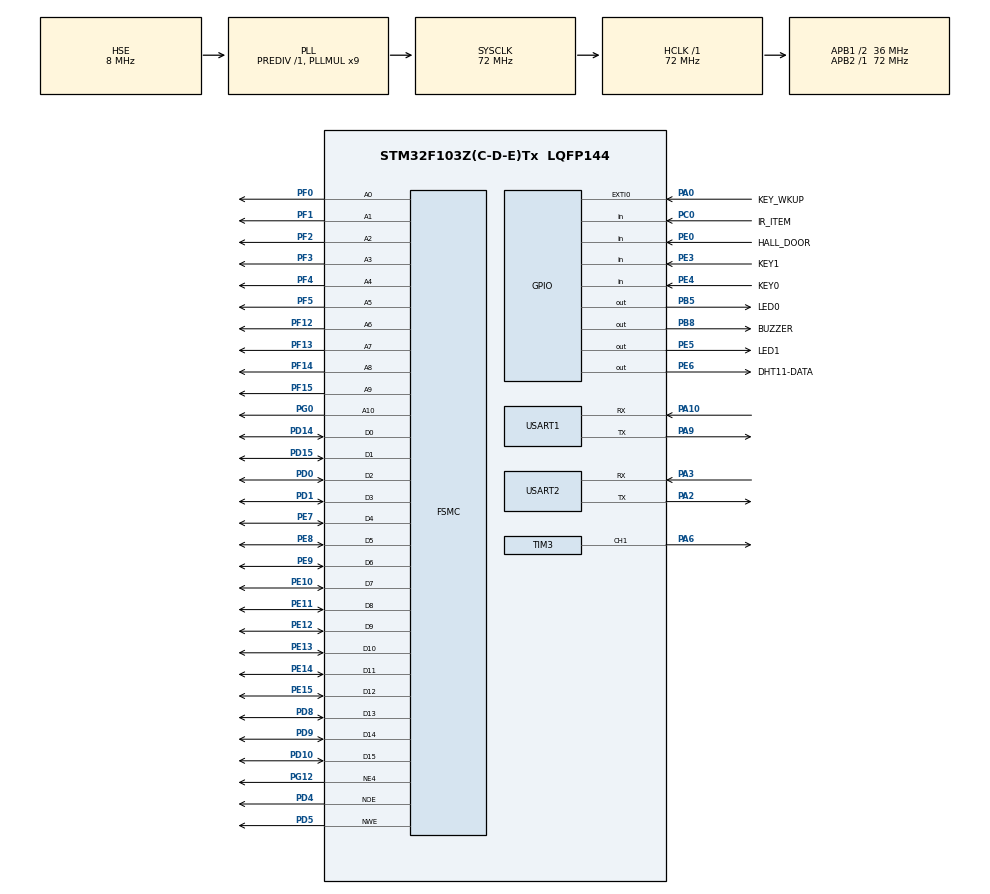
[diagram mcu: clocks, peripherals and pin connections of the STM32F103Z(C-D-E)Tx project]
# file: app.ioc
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FREERTOS.Tasks01=defaultTask,24,128,StartDefaultTask,Default,NULL,Dynamic,NULL,NULL
FREERTOS.configCHECK_FOR_STACK_OVERFLOW=2
FREERTOS.configTOTAL_HEAP_SIZE=24576
FREERTOS.configUSE_IDLE_HOOK=1
FREERTOS.configUSE_MALLOC_FAILED_HOOK=1
FSMC.AddressSetupTime4=5
FSMC.BusTurnAroundDuration4=0
FSMC.DataSetupTime4=7
FSMC.ExtendedAddressSetupTime4=2
FSMC.ExtendedBusTurnAroundDuration4=0
FSMC.ExtendedDataSetupTime4=5
FSMC.ExtendedMode4=FSMC_EXTENDED_MODE_ENABLE
FSMC.WriteOperation4=FSMC_WRITE_OPERATION_ENABLE
Mcu.Family=STM32F1
Mcu.Name=STM32F103Z(C-D-E)Tx
Mcu.Package=LQFP144
NVIC.EXTI0_IRQn=true\:5\:0\:false\:false\:true\:true\:true\:true\:true
NVIC.PriorityGroup=NVIC_PRIORITYGROUP_4
NVIC.TIM4_IRQn=true\:15\:0\:false\:false\:true\:false\:false\:true\:true
NVIC.TimeBase=TIM4_IRQn
NVIC.TimeBaseIP=TIM4
NVIC.USART2_IRQn=true\:5\:0\:true\:false\:true\:true\:true\:true\:true
OSC_IN.Mode=HSE-External-Oscillator
OSC_IN.Signal=RCC_OSC_IN
OSC_OUT.Mode=HSE-External-Oscillator
OSC_OUT.Signal=RCC_OSC_OUT
PA0-WKUP.GPIO_Label=KEY_WKUP
PA0-WKUP.GPIO_ModeDefaultEXTI=GPIO_MODE_IT_FALLING
PA0-WKUP.GPIO_PuPd=GPIO_PULLDOWN
PA0-WKUP.Signal=GPXTI0
PA10.GPIO_PuPd=GPIO_PULLUP
PA10.Mode=Asynchronous
PA10.Signal=USART1_RX
PA13.Mode=Serial_Wire
PA13.Signal=SYS_JTMS-SWDIO
PA14.Mode=Serial_Wire
PA14.Signal=SYS_JTCK-SWCLK
PA2.Mode=Asynchronous
PA2.Signal=USART2_TX
PA3.Mode=Asynchronous
PA3.Signal=USART2_RX
PA6.Signal=S_TIM3_CH1
PA9.GPIO_Speed=GPIO_SPEED_FREQ_HIGH
PA9.Mode=Asynchronous
PA9.Signal=USART1_TX
PB5.GPIO_Label=LED0
PB5.GPIO_PuPd=GPIO_PULLUP
PB5.GPIO_Speed=GPIO_SPEED_FREQ_HIGH
PB5.PinState=GPIO_PIN_SET
PB5.Signal=GPIO_Output
PB8.GPIO_Label=BUZZER
PB8.GPIO_PuPd=GPIO_PULLUP
PB8.GPIO_Speed=GPIO_SPEED_FREQ_HIGH
PB8.Signal=GPIO_Output
PC0.GPIO_Label=IR_ITEM
PC0.GPIO_PuPd=GPIO_PULLUP
PC0.Signal=GPIO_Input
PD0.Signal=FSMC_D2_DA2
PD1.Signal=FSMC_D3_DA3
PD10.Signal=FSMC_D15_DA15
PD14.Signal=FSMC_D0_DA0
PD15.Signal=FSMC_D1_DA1
PD4.Signal=FSMC_NOE
PD5.Signal=FSMC_NWE
PD8.Signal=FSMC_D13_DA13
PD9.Signal=FSMC_D14_DA14
PE0.GPIO_Label=HALL_DOOR
PE0.GPIO_PuPd=GPIO_PULLUP
PE0.Signal=GPIO_Input
PE10.Signal=FSMC_D7_DA7
PE11.Signal=FSMC_D8_DA8
PE12.Signal=FSMC_D9_DA9
PE13.Signal=FSMC_D10_DA10
PE14.Signal=FSMC_D11_DA11
PE15.Signal=FSMC_D12_DA12
PE3.GPIO_Label=KEY1
PE3.GPIO_PuPd=GPIO_PULLUP
PE3.Signal=GPIO_Input
PE4.GPIO_Label=KEY0
PE4.GPIO_PuPd=GPIO_PULLUP
PE4.Signal=GPIO_Input
PE5.GPIO_Label=LED1
PE5.GPIO_PuPd=GPIO_PULLUP
PE5.GPIO_Speed=GPIO_SPEED_FREQ_HIGH
PE5.PinState=GPIO_PIN_SET
PE5.Signal=GPIO_Output
PE6.GPIO_Label=DHT11-DATA
PE6.GPIO_ModeDefaultOutputPP=GPIO_MODE_OUTPUT_OD
PE6.GPIO_PuPd=GPIO_PULLUP
PE6.Signal=GPIO_Output
PE7.Signal=FSMC_D4_DA4
PE8.Signal=FSMC_D5_DA5
PE9.Signal=FSMC_D6_DA6
PF0.Signal=FSMC_A0
PF1.Signal=FSMC_A1
PF12.Signal=FSMC_A6
PF13.Signal=FSMC_A7
PF14.Signal=FSMC_A8
PF15.Signal=FSMC_A9
PF2.Signal=FSMC_A2
PF3.Signal=FSMC_A3
PF4.Signal=FSMC_A4
PF5.GPIO_Speed_High_Default=GPIO_SPEED_FREQ_HIGH
PF5.Signal=FSMC_A5
PG0.Signal=FSMC_A10
PG12.Mode=NorPsramChipSelect4_4
PG12.Signal=FSMC_NE4
ProjectManager.HeapSize=0x200
ProjectManager.StackSize=0x400
ProjectManager.TargetToolchain=MDK-ARM V5.32
RCC.AHBFreq_Value=72000000
RCC.APB1CLKDivider=RCC_HCLK_DIV2
RCC.APB1Freq_Value=36000000
RCC.APB1TimFreq_Value=72000000
RCC.APB2Freq_Value=72000000
RCC.APB2TimFreq_Value=72000000
RCC.HCLKFreq_Value=72000000
RCC.PLLMUL=RCC_PLL_MUL9
RCC.PLLSourceVirtual=RCC_PLLSOURCE_HSE
RCC.SYSCLKFreq_VALUE=72000000
RCC.SYSCLKSource=RCC_SYSCLKSOURCE_PLLCLK
RCC.USBFreq_Value=72000000
SH.FSMC_A0.0=FSMC_A0,11b-a4
SH.FSMC_A1.0=FSMC_A1,11b-a4
SH.FSMC_A10.0=FSMC_A10,11b-a4
SH.FSMC_A2.0=FSMC_A2,11b-a4
SH.FSMC_A3.0=FSMC_A3,11b-a4
SH.FSMC_A4.0=FSMC_A4,11b-a4
SH.FSMC_A5.0=FSMC_A5,11b-a4
SH.FSMC_A6.0=FSMC_A6,11b-a4
SH.FSMC_A7.0=FSMC_A7,11b-a4
SH.FSMC_A8.0=FSMC_A8,11b-a4
SH.FSMC_A9.0=FSMC_A9,11b-a4
SH.FSMC_D0_DA0.0=FSMC_D0,16b-d4
SH.FSMC_D10_DA10.0=FSMC_D10,16b-d4
SH.FSMC_D11_DA11.0=FSMC_D11,16b-d4
SH.FSMC_D12_DA12.0=FSMC_D12,16b-d4
SH.FSMC_D13_DA13.0=FSMC_D13,16b-d4
SH.FSMC_D14_DA14.0=FSMC_D14,16b-d4
SH.FSMC_D15_DA15.0=FSMC_D15,16b-d4
SH.FSMC_D1_DA1.0=FSMC_D1,16b-d4
SH.FSMC_D2_DA2.0=FSMC_D2,16b-d4
SH.FSMC_D3_DA3.0=FSMC_D3,16b-d4
SH.FSMC_D4_DA4.0=FSMC_D4,16b-d4
SH.FSMC_D5_DA5.0=FSMC_D5,16b-d4
SH.FSMC_D6_DA6.0=FSMC_D6,16b-d4
SH.FSMC_D7_DA7.0=FSMC_D7,16b-d4
SH.FSMC_D8_DA8.0=FSMC_D8,16b-d4
SH.FSMC_D9_DA9.0=FSMC_D9,16b-d4
SH.FSMC_NOE.0=FSMC_NOE,Sram4
SH.FSMC_NWE.0=FSMC_NWE,Sram4
SH.S_TIM3_CH1.0=TIM3_CH1,PWM Generation1 CH1
TIM3.AutoReloadPreload=TIM_AUTORELOAD_PRELOAD_ENABLE
TIM3.Channel-PWM\ Generation1\ CH1=TIM_CHANNEL_1
TIM3.Period=20000-1
TIM3.Prescaler=72-1
TIM3.Pulse-PWM\ Generation1\ CH1=1500
USART1.VirtualMode=VM_ASYNC
USART2.VirtualMode=VM_ASYNC
VP_FREERTOS_VS_CMSIS_V2.Mode=CMSIS_V2
VP_SYS_VS_tim4.Mode=TIM4
VP_TIM3_VS_ClockSourceINT.Mode=Internal
board=custom

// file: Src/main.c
/* USER CODE BEGIN Header */
/**
  ******************************************************************************
  * @file           : main.c
  * @brief          : Main program body
  ******************************************************************************
  * @attention
  *
  * Copyright (c) 2026 STMicroelectronics.
  * All rights reserved.
  *
  * This software is licensed under terms that can be found in the LICENSE file
  * in the root directory of this software component.
  * If no LICENSE file comes with this software, it is provided AS-IS.
  *
  ******************************************************************************
  */
/* USER CODE END Header */
#include "main.h"
#include "cmsis_os.h"
#include "tim.h"
#include "usart.h"
#include "gpio.h"
#include "fsmc.h"

/* USER CODE BEGIN Includes */
/* USER CODE BEGIN Includes */
#include <stdio.h>
#include <string.h>
#include "app_ipc.h"        /* 4 大 IPC 句柄：g_uart_mutex_handle / g_irq_sem_handle */
#include "app_task.h"       /* 任务函数声明 */
#include "app_uart.h"
#include "flash_param.h"
#include "ota_manager.h"
#include "app_lcd.h"
#include "app_touch.h"
#include "app_servo.h"
#include "app_sensor.h"
#include "app_ipc.h"
#include "app_buzzer.h"
#include "code_check.h"
#include "lcd_ui.h"

/* ===================== fputc 重定向（D3 第二版互斥锁，原样保留） ===================== */
#ifdef __GNUC__
  #define PUTCHAR_PROTOTYPE int __io_putchar(int ch)
#else
  #define PUTCHAR_PROTOTYPE int fputc(int ch, FILE *f)
#endif
PUTCHAR_PROTOTYPE
{
    HAL_UART_Transmit(&huart1, (uint8_t *)&ch, 1, 0xFFFF);
    return ch;
}

/* ===================== _write 系统调用（MicroLib printf/fputs 批量输出重定向） =====================
 * D17 关键修复：MicroLib 下带格式参数的 printf（如 lcd.c 中 printf("LCD ID:%x", id)）
 * 会调用 _write 系统调用而非 fputc。若不实现 _write，MicroLib 默认 stub 会导致程序卡死。
 * 此实现将 _write 重定向到 huart1，与 fputc/uart_printf_mutex 输出一致。
 * 注意：多任务环境下应优先使用 uart_printf_mutex（带互斥锁），避免 printf 竞争。
 * ============================================================================================ */
int _write(int fd, const char *ptr, int len)
{
    (void)fd;
    if ((ptr != NULL) && (len > 0) && (huart1.Instance != NULL)) {
        (void)HAL_UART_Transmit(&huart1, (uint8_t *)ptr, (uint16_t)len, 100U);  /* 100ms 超时防 TX 故障死锁 */
    }
    return len;
}
/* USER CODE END Includes */

void SystemClock_Config(void);
void MX_FREERTOS_Init(void);

int main(void)
{

  /* USER CODE BEGIN 1 */
	__enable_irq();   /* Bootloader 跳转前 __disable_irq()，APP 必须重新开启全局中断 */
  /* USER CODE END 1 */

  /* MCU Configuration--------------------------------------------------------*/

  /* Reset of all peripherals, Initializes the Flash interface and the Systick. */
  HAL_Init();

  /* Configure the system clock */
  SystemClock_Config();

  /* Initialize all configured peripherals */
  MX_GPIO_Init();
  MX_USART1_UART_Init();
  MX_USART2_UART_Init();
  MX_FSMC_Init();
  MX_TIM3_Init();
  /* USER CODE BEGIN 2 */

	App_Lcd_Init();   /* LCD 初始化（FSMC 已由 MX_FSMC_Init 初始化，此处初始化 LCD 控制器 + 背光）*/
	App_Touch_Init();
	App_Servo_Init();    /* 舵机 PWM 启动，默认关锁 */
	App_Sensor_Init();   /* 霍尔/红外传感器初始化 */
	App_Buzzer_Init();   /* 蜂鸣器初始化（关闭状态） */

	#if APP_BUZZER_ENABLED
		App_Buzzer_Beep_Blocking(200);  /* 上电自检：响 200ms（静音模式跳过，避免无意义 200ms 延迟）*/
	#endif
  uart_printf_mutex("\r\n############ APP v%u.%u.%u.%u (built %s %s) ############\r\n",
                    FW_VER_MAJOR, FW_VER_MINOR, FW_VER_PATCH, FW_BUILD_NUM,
                    __DATE__, __TIME__);
	uart_printf_mutex("\r\n===== IOT OTA APP =====\r\n");
	uart_printf_mutex("System Clock: %u Hz\r\n", SystemCoreClock);
	uart_printf_mutex("Build: %s %s\r\n", __DATE__, __TIME__);

	/* Flash maintenance belongs to boot, not to a small periodic task stack. */
	(void)FlashParam_InitOnBoot();

	 CodeCheck_Init();    /* 取件码模块初始化，从 Flash 读正确码 */
	 LcdUI_Init();   		  /* D9：LCD UI 初始化，画第一帧 */

  /* USER CODE END 2 */

  /* Init scheduler */
  osKernelInitialize();  /* Call init function for freertos objects (in cmsis_os2.c) */
  MX_FREERTOS_Init();

  /* Start scheduler */
  osKernelStart();

  /* We should never get here as control is now taken by the scheduler */

  /* Infinite loop */
  while (1)
  {

  }
}

void SystemClock_Config(void)
{
  RCC_OscInitTypeDef RCC_OscInitStruct = {0};
  RCC_ClkInitTypeDef RCC_ClkInitStruct = {0};

  /** Initializes the RCC Oscillators according to the specified parameters
  * in the RCC_OscInitTypeDef structure.
  */
  RCC_OscInitStruct.OscillatorType = RCC_OSCILLATORTYPE_HSE;
  RCC_OscInitStruct.HSEState = RCC_HSE_ON;
  RCC_OscInitStruct.HSEPredivValue = RCC_HSE_PREDIV_DIV1;
  RCC_OscInitStruct.HSIState = RCC_HSI_ON;
  RCC_OscInitStruct.PLL.PLLState = RCC_PLL_ON;
  RCC_OscInitStruct.PLL.PLLSource = RCC_PLLSOURCE_HSE;
  RCC_OscInitStruct.PLL.PLLMUL = RCC_PLL_MUL9;
  if (HAL_RCC_OscConfig(&RCC_OscInitStruct) != HAL_OK)
  {
    Error_Handler();
  }

  /** Initializes the CPU, AHB and APB buses clocks
  */
  RCC_ClkInitStruct.ClockType = RCC_CLOCKTYPE_HCLK|RCC_CLOCKTYPE_SYSCLK
                              |RCC_CLOCKTYPE_PCLK1|RCC_CLOCKTYPE_PCLK2;
  RCC_ClkInitStruct.SYSCLKSource = RCC_SYSCLKSOURCE_PLLCLK;
  RCC_ClkInitStruct.AHBCLKDivider = RCC_SYSCLK_DIV1;
  RCC_ClkInitStruct.APB1CLKDivider = RCC_HCLK_DIV2;
  RCC_ClkInitStruct.APB2CLKDivider = RCC_HCLK_DIV1;

  if (HAL_RCC_ClockConfig(&RCC_ClkInitStruct, FLASH_LATENCY_2) != HAL_OK)
  {
    Error_Handler();
  }
}

/* USER CODE BEGIN 4 */
void HAL_GPIO_EXTI_Callback(uint16_t GPIO_Pin)
{
    /* 只处理 WK_UP(PA0) 按键触发的 EXTI0 中断 */
    if (GPIO_Pin == KEY_WKUP_Pin)
    {
        /* =====================【CMSIS_V2 标准写法，1 行搞定】=====================
         * osSemaphoreRelease(信号量句柄)
         * 功能：在中断里 Give 1 次二值信号量 → 唤醒 TaskSemHandle。
         * 好处：
         *   ① 不用 xHigherPriorityTaskWoken 变量
         *   ② 不用 portYIELD_FROM_ISR
         *   ③ 任务/ISR 通用，内部自动判断上下文
         *   ④ CubeMX CMSIS_V2 模式下符号永远导出，不再报 Undefined symbol
         * ========================================================================= */
        if (g_irq_sem_handle != NULL) {
            osSemaphoreRelease(g_irq_sem_handle);
        }
    }
}

/* USER CODE END 4 */

void HAL_TIM_PeriodElapsedCallback(TIM_HandleTypeDef *htim)
{
  if (htim->Instance == TIM4)
  {
    HAL_IncTick();
  }
}

void Error_Handler(void)
{
  __disable_irq();
  while (1)
  {
  }
}
#ifdef USE_FULL_ASSERT
/**
  * @brief  Reports the name of the source file and the source line number
  *         where the assert_param error has occurred.
  * @param  file: pointer to the source file name
  * @param  line: assert_param error line source number
  * @retval None
  */
void assert_failed(uint8_t *file, uint32_t line)
{
  /* USER CODE BEGIN 6 */
  /* User can add his own implementation to report the file name and line number,
     ex: uart_printf_mutex("Wrong parameters value: file %s on line %d\r\n", file, line) */
  /* USER CODE END 6 */
}
#endif /* USE_FULL_ASSERT */

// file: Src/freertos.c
/* USER CODE BEGIN Header */
/**
  ******************************************************************************
  * File Name          : freertos.c
  * Description        : Code for freertos applications
  ******************************************************************************
  * @attention
  *
  * Copyright (c) 2026 STMicroelectronics.
  * All rights reserved.
  *
  * This software is licensed under terms that can be found in the LICENSE file
  * in the root directory of this software component.
  * If no LICENSE file comes with this software, it is provided AS-IS.
  *
  ******************************************************************************
  */
/* USER CODE END Header */

#include "FreeRTOS.h"
#include "task.h"
#include "main.h"
#include "cmsis_os.h"

/* USER CODE BEGIN Includes */
#include "app_ipc.h"
#include "app_task.h"
#include <stdio.h>
#include "app_dht11.h"
#include "app_esp8266.h"
#include "app_uart.h"
#include "app_lcd.h"
#include "app_touch.h"
#include "app_servo.h"
#include "app_sensor.h"
#include "app_locker_test.h"
#include "lcd_ui.h"
/* USER CODE END Includes */

/* Definitions for defaultTask */
osThreadId_t defaultTaskHandle;
const osThreadAttr_t defaultTask_attributes = {
  .name = "defaultTask",
  .stack_size = 128 * 4,
  .priority = (osPriority_t) osPriorityNormal,
};

void StartDefaultTask(void *argument);

void MX_FREERTOS_Init(void); /* (MISRA C 2004 rule 8.1) */

/* Hook prototypes */
void vApplicationIdleHook(void);
void vApplicationStackOverflowHook(xTaskHandle xTask, signed char *pcTaskName);
void vApplicationMallocFailedHook(void);

/* USER CODE BEGIN 2 */
#if 0
void vApplicationIdleHook( void )
{
   /* vApplicationIdleHook() will only be called if configUSE_IDLE_HOOK is set
   to 1 in FreeRTOSConfig.h. It will be called on each iteration of the idle
   task. It is essential that code added to this hook function never attempts
   to block in any way (for example, call xQueueReceive() with a block time
   specified, or call vTaskDelay()). If the application makes use of the
   vTaskDelete() API function (as this demo application does) then it is also
   important that vApplicationIdleHook() is permitted to return to its calling
   function, because it is the responsibility of the idle task to clean up
   memory allocated by the kernel to any task that has since been deleted. */
}
#endif
/* USER CODE END 2 */

/* USER CODE BEGIN 4 */
#if 0
void vApplicationStackOverflowHook(xTaskHandle xTask, signed char *pcTaskName)
{
   /* Run time stack overflow checking is performed if
   configCHECK_FOR_STACK_OVERFLOW is defined to 1 or 2. This hook function is
   called if a stack overflow is detected. */
}
#endif
/* USER CODE END 4 */

/* USER CODE BEGIN 5 */
#if 0
void vApplicationMallocFailedHook(void)
{
   /* vApplicationMallocFailedHook() will only be called if
   configUSE_MALLOC_FAILED_HOOK is set to 1 in FreeRTOSConfig.h. It is a hook
   function that will get called if a call to pvPortMalloc() fails.
   pvPortMalloc() is called internally by the kernel whenever a task, queue,
   timer or semaphore is created. It is also called by various parts of the
   demo application. If heap_1.c or heap_2.c are used, then the size of the
   heap available to pvPortMalloc() is defined by configTOTAL_HEAP_SIZE in
   FreeRTOSConfig.h, and the xPortGetFreeHeapSize() API function can be used
   to query the size of free heap space that remains (although it does not
   provide information on how the remaining heap might be fragmented). */
}
#endif
/* USER CODE END 5 */

void MX_FREERTOS_Init(void) {

  /* USER CODE BEGIN RTOS_QUEUES */
  /* 初始化 4 大 IPC（必须在创建任务之前！） */
			App_IPC_Init();
  /* USER CODE END RTOS_QUEUES */

  /* Create the thread(s) */
  /* creation of defaultTask */
  defaultTaskHandle = osThreadNew(StartDefaultTask, NULL, &defaultTask_attributes);

  /* USER CODE BEGIN RTOS_THREADS */
  /* -------------------- TaskLED -------------------- */
    const osThreadAttr_t taskLED_attr = {
        .name       = "TaskLED",
        .attr_bits  = osThreadDetached,
        .cb_mem     = NULL,
        .cb_size    = 0,
        .stack_mem  = NULL,
        .stack_size = TASK_LED_STACK_SIZE_BYTES,
        .priority   = TASK_LED_PRIORITY,    /* osPriorityNormal = 24 */
        .tz_module  = 0,
        .reserved   = 0
    };
    osThreadId_t taskLED_handle = osThreadNew(TaskLED, NULL, &taskLED_attr);
    if (taskLED_handle == NULL) {
        uart_printf_mutex("[ERROR] osThreadNew(TaskLED) failed!\r\n");
    } else {
        App_StackMonitorRegister(taskLED_handle, "TaskLED",
                                 taskLED_attr.stack_size);
    }

    /* -------------------- TaskPrint -------------------- */
    const osThreadAttr_t taskPrint_attr = {
        .name       = "TaskPrint",
        .attr_bits  = osThreadDetached,
        .cb_mem     = NULL,
        .cb_size    = 0,
        .stack_mem  = NULL,
        .stack_size = TASK_PRINT_STACK_SIZE_BYTES,
        .priority   = TASK_PRINT_PRIORITY,   /* osPriorityBelowNormal = 16 */
        .tz_module  = 0,
        .reserved   = 0
    };
    osThreadId_t taskPrint_handle = osThreadNew(TaskPrint, NULL, &taskPrint_attr);
    if (taskPrint_handle == NULL) {
        uart_printf_mutex("[ERROR] osThreadNew(TaskPrint) failed!\r\n");
    } else {
        App_StackMonitorRegister(taskPrint_handle, "TaskPrint",
                                 taskPrint_attr.stack_size);
    }

		    /* ===== TaskKeyPoll ===== */
    const osThreadAttr_t taskKeyPoll_attr = {
        .name       = "TaskKeyPoll",
        .attr_bits  = osThreadDetached,
        .stack_size = TASK_KEY_POLL_STACK_SIZE_BYTES,
        .priority   = TASK_KEY_POLL_PRIORITY,
    };
    osThreadId_t taskKeyPoll_handle = osThreadNew(TaskKeyPoll, NULL, &taskKeyPoll_attr);
    if (taskKeyPoll_handle == NULL) { uart_printf_mutex("[ERROR] osThreadNew(TaskKeyPoll) failed!\r\n"); }
    else { App_StackMonitorRegister(taskKeyPoll_handle, "TaskKeyPoll", taskKeyPoll_attr.stack_size); }

    /* ===== TaskSemHandle ===== */
    const osThreadAttr_t taskSemHandle_attr = {
        .name       = "TaskSemHandle",
        .attr_bits  = osThreadDetached,
        .stack_size = TASK_SEM_HANDLE_STACK_SIZE_BYTES,
        .priority   = TASK_SEM_HANDLE_PRIORITY,
    };
    osThreadId_t taskSemHandle_handle = osThreadNew(TaskSemHandle, NULL, &taskSemHandle_attr);
    if (taskSemHandle_handle == NULL) { uart_printf_mutex("[ERROR] osThreadNew(TaskSemHandle) failed!\r\n"); }
    else { App_StackMonitorRegister(taskSemHandle_handle, "TaskSemHandle", taskSemHandle_attr.stack_size); }
		    /* -------------------- TaskDHT11 -------------------- */
    const osThreadAttr_t taskDHT11_attr = {
        .name       = "TaskDHT11",
        .attr_bits  = osThreadDetached,
        .stack_size = TASK_DHT11_STACK_SIZE_BYTES,
        .priority   = osPriorityNormal, /* 24，和 TaskLED 同优先级 */
    };
    osThreadId_t taskDHT11_handle = osThreadNew(TaskDHT11, NULL, &taskDHT11_attr);
    if (taskDHT11_handle == NULL) {
        uart_printf_mutex("[ERROR] osThreadNew(TaskDHT11) failed!\r\n");
    } else {
        App_StackMonitorRegister(taskDHT11_handle, "TaskDHT11",
                                 taskDHT11_attr.stack_size);
    }

    /* -------------------- TaskESP8266 -------------------- */
    const osThreadAttr_t taskESP8266_attr = {
        .name       = "TaskESP8266",
        .attr_bits  = osThreadDetached,
        .stack_size = TASK_ESP8266_STACK_SIZE_BYTES,
        .priority   = osPriorityNormal, /* 24，不抢实时任务 */
    };
    osThreadId_t taskESP8266_handle = osThreadNew(TaskESP8266, NULL, &taskESP8266_attr);
    if (taskESP8266_handle == NULL) {
        uart_printf_mutex("[ERROR] osThreadNew(TaskESP8266) failed!\r\n");
    } else {
        App_StackMonitorRegister(taskESP8266_handle, "TaskESP8266",
                                 taskESP8266_attr.stack_size);
    }
//		/* -------------------- TaskLcd -------------------- */
//    {
//        const osThreadAttr_t taskLcdTest_attr = {
//            .name       = "TaskLcdTest",
//            .attr_bits  = osThreadDetached,
//            .cb_mem     = NULL,
//            .cb_size    = 0,
//            .stack_mem  = NULL,
//            .stack_size = TASK_LCD_TEST_STACK_SIZE_BYTES,
//            .priority   = TASK_LCD_TEST_PRIORITY,
//            .tz_module  = 0,
//            .reserved   = 0
//        };
//        osThreadId_t taskLcdTest_handle = osThreadNew(TaskLcdTest, NULL, &taskLcdTest_attr);
//        if (taskLcdTest_handle == NULL) {
//            uart_printf_mutex("[ERROR] osThreadNew(TaskLcdTest) failed!\r\n");
//        } else {
//            App_StackMonitorRegister(taskLcdTest_handle, "TaskLcdTest",
//                                     taskLcdTest_attr.stack_size);
//        }
//    }
		/* -------------------- TaskLcdUI  -------------------- */
    {
        const osThreadAttr_t taskLcdUI_attr = {
            .name       = "TaskLcdUI",
            .attr_bits  = osThreadDetached,
            .cb_mem     = NULL,
            .cb_size    = 0,
            .stack_mem  = NULL,
            .stack_size = TASK_LCD_UI_STACK_SIZE_BYTES,
            .priority   = TASK_LCD_UI_PRIORITY,
            .tz_module  = 0,
            .reserved   = 0
        };
        osThreadId_t taskLcdUI_handle = osThreadNew(TaskLcdUI, NULL, &taskLcdUI_attr);
        if (taskLcdUI_handle == NULL) {
            uart_printf_mutex("[ERROR] osThreadNew(TaskLcdUI) failed!\r\n");
        } else {
            App_StackMonitorRegister(taskLcdUI_handle, "TaskLcdUI",
                                     taskLcdUI_attr.stack_size);
        }
    }
//		/* -------------------- TaskTouch -------------------- */
//		{
//				const osThreadAttr_t taskTouch_attr = {
//						.name       = "TaskTouch",
//						.attr_bits  = osThreadDetached,
//						.stack_size = TASK_TOUCH_STACK_SIZE_BYTES,
//						.priority   = TASK_TOUCH_PRIORITY,
//				};
//				osThreadId_t taskTouch_handle = osThreadNew(TaskTouch, NULL, &taskTouch_attr);
//				if (taskTouch_handle == NULL) {
//						uart_printf_mutex("[ERROR] osThreadNew(TaskTouch) failed!\r\n");
//				} else {
//						App_StackMonitorRegister(taskTouch_handle, "TaskTouch", taskTouch_attr.stack_size);
//				}
//		}
		/* -------------------- TaskLocker (柜子状态机) -------------------- */
		{
				const osThreadAttr_t taskLocker_attr = {
						.name       = "TaskLocker",
						.attr_bits  = osThreadDetached,
						.stack_size = TASK_LOCKER_STACK_SIZE_BYTES,
						.priority   = TASK_LOCKER_PRIORITY,
				};
				osThreadId_t h = osThreadNew(TaskLocker, NULL, &taskLocker_attr);
				if (h == NULL) {
						uart_printf_mutex("[ERROR] osThreadNew(TaskLocker) failed!\r\n");
				} else {
						App_StackMonitorRegister(h, "TaskLocker", taskLocker_attr.stack_size);
				}
		}
  /* USER CODE END RTOS_THREADS */

}

void StartDefaultTask(void *argument)
{
  for(;;)
  {
    osDelay(1);
  }
}
